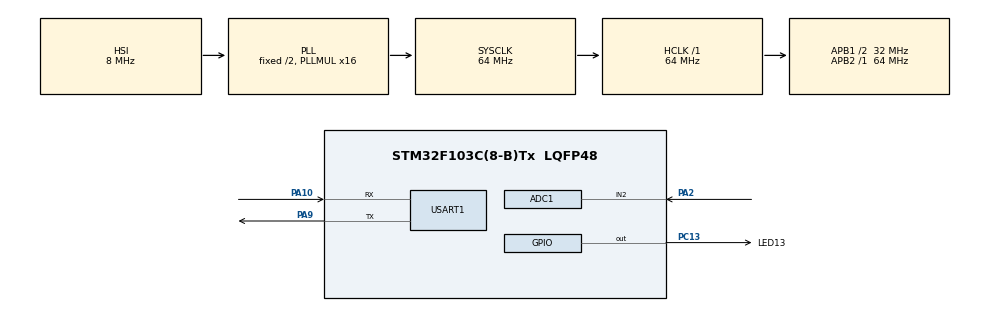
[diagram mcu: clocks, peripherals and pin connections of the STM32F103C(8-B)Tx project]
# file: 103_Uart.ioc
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ADC1.Channel-2\#ChannelRegularConversion=ADC_CHANNEL_2
ADC1.ContinuousConvMode=ENABLE
ADC1.EnableInjectedConversion=DISABLE
ADC1.EnableRegularConversion=ENABLE
ADC1.NbrOfConversionFlag=1
ADC1.Rank-2\#ChannelRegularConversion=1
ADC1.SamplingTime-2\#ChannelRegularConversion=ADC_SAMPLETIME_71CYCLES_5
ADC1.master=1
Dma.ADC1.0.Direction=DMA_PERIPH_TO_MEMORY
Dma.ADC1.0.Instance=DMA1_Channel1
Dma.ADC1.0.MemDataAlignment=DMA_MDATAALIGN_HALFWORD
Dma.ADC1.0.MemInc=DMA_MINC_ENABLE
Dma.ADC1.0.Mode=DMA_CIRCULAR
Dma.ADC1.0.PeriphDataAlignment=DMA_PDATAALIGN_HALFWORD
Dma.ADC1.0.PeriphInc=DMA_PINC_DISABLE
Dma.ADC1.0.Priority=DMA_PRIORITY_LOW
Dma.Request0=ADC1
Mcu.Family=STM32F1
Mcu.Name=STM32F103C(8-B)Tx
Mcu.Package=LQFP48
NVIC.DMA1_Channel1_IRQn=true\:0\:0\:false\:false\:true\:false\:true\:true
NVIC.PriorityGroup=NVIC_PRIORITYGROUP_4
NVIC.USART1_IRQn=true\:0\:0\:false\:false\:true\:true\:true\:true
PA10.Mode=Asynchronous
PA10.Signal=USART1_RX
PA13.Mode=Serial_Wire
PA13.Signal=SYS_JTMS-SWDIO
PA14.Mode=Serial_Wire
PA14.Signal=SYS_JTCK-SWCLK
PA2.Signal=ADCx_IN2
PA9.Mode=Asynchronous
PA9.Signal=USART1_TX
PC13-TAMPER-RTC.GPIO_Label=LED13
PC13-TAMPER-RTC.GPIO_Speed=GPIO_SPEED_FREQ_MEDIUM
PC13-TAMPER-RTC.Signal=GPIO_Output
ProjectManager.HeapSize=0x200
ProjectManager.StackSize=0x400
ProjectManager.TargetToolchain=STM32CubeIDE
RCC.ADCPresc=RCC_ADCPCLK2_DIV8
RCC.AHBFreq_Value=64000000
RCC.APB1CLKDivider=RCC_HCLK_DIV2
RCC.APB1Freq_Value=32000000
RCC.APB1TimFreq_Value=64000000
RCC.APB2Freq_Value=64000000
RCC.APB2TimFreq_Value=64000000
RCC.HCLKFreq_Value=64000000
RCC.PLLMUL=RCC_PLL_MUL16
RCC.SYSCLKFreq_VALUE=64000000
RCC.SYSCLKSource=RCC_SYSCLKSOURCE_PLLCLK
RCC.USBFreq_Value=64000000
SH.ADCx_IN2.0=ADC1_IN2,IN2
USART1.VirtualMode=VM_ASYNC
board=custom

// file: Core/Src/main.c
/* USER CODE BEGIN Header */
/**
  ******************************************************************************
  * @file           : main.c
  * @brief          : Main program body
  ******************************************************************************
  * @attention
  *
  * Copyright (c) 2023 STMicroelectronics.
  * All rights reserved.
  *
  * This software is licensed under terms that can be found in the LICENSE file
  * in the root directory of this software component.
  * If no LICENSE file comes with this software, it is provided AS-IS.
  *
  ******************************************************************************
  */
/* USER CODE END Header */
#include "main.h"

/* USER CODE BEGIN Includes */
#include "string.h"				//для работы со строками
//#define ADC_CHANNELS_NUM 1
/* USER CODE END Includes */

ADC_HandleTypeDef hadc1;
DMA_HandleTypeDef hdma_adc1;
UART_HandleTypeDef huart1;

void SystemClock_Config(void);
static void MX_GPIO_Init(void);
static void MX_DMA_Init(void);
static void MX_USART1_UART_Init(void);
static void MX_ADC1_Init(void);

/* USER CODE BEGIN 0 */
char trans_str[16] = {0,};
uint16_t temperTMP37 = 0;
uint16_t settemperTMP37 = 40;
uint16_t hyster = 5;
uint16_t adcData;
uint16_t adcVoltage;
/* USER CODE END 0 */

int main(void)
{

  /* MCU Configuration--------------------------------------------------------*/

  /* Reset of all peripherals, Initializes the Flash interface and the Systick. */
  HAL_Init();

  /* Configure the system clock */
  SystemClock_Config();

  /* Initialize all configured peripherals */
  MX_GPIO_Init();
  MX_DMA_Init();
  MX_USART1_UART_Init();
  MX_ADC1_Init();
  /* USER CODE BEGIN 2 */
//  HAL_ADCEx_Calibration_Start(&hadc1);
  HAL_ADC_Start_DMA(&hadc1, (uint32_t*)&adcData, 1);
  /* USER CODE END 2 */

  /* Infinite loop */
  while (1)
  {

    /* USER CODE BEGIN 3 */
	  	  	HAL_Delay(100);
	  		if (temperTMP37>(settemperTMP37+hyster))  HAL_GPIO_WritePin(LED13_GPIO_Port, LED13_Pin, 0);
	  		else if (temperTMP37<(settemperTMP37-hyster)) HAL_GPIO_WritePin(LED13_GPIO_Port, LED13_Pin, 1);

	  		adcVoltage = adcData * 3300 / 4095; //X1000, те не вольты а милливольты
	  		temperTMP37 = adcVoltage/20; // 1 градус = 20 милливольт
	  		snprintf(trans_str, 16, "TEMPERATURE %d\n", temperTMP37); //упаковали всё в массив для отображения в ASCII
	  		HAL_UART_Transmit(&huart1, trans_str, strlen (trans_str), 1000); //передали по уарт
  }

  /* USER CODE END 3 */
}

void SystemClock_Config(void)
{
  RCC_OscInitTypeDef RCC_OscInitStruct = {0};
  RCC_ClkInitTypeDef RCC_ClkInitStruct = {0};
  RCC_PeriphCLKInitTypeDef PeriphClkInit = {0};

  /** Initializes the RCC Oscillators according to the specified parameters
  * in the RCC_OscInitTypeDef structure.
  */
  RCC_OscInitStruct.OscillatorType = RCC_OSCILLATORTYPE_HSI;
  RCC_OscInitStruct.HSIState = RCC_HSI_ON;
  RCC_OscInitStruct.HSICalibrationValue = RCC_HSICALIBRATION_DEFAULT;
  RCC_OscInitStruct.PLL.PLLState = RCC_PLL_ON;
  RCC_OscInitStruct.PLL.PLLSource = RCC_PLLSOURCE_HSI_DIV2;
  RCC_OscInitStruct.PLL.PLLMUL = RCC_PLL_MUL16;
  if (HAL_RCC_OscConfig(&RCC_OscInitStruct) != HAL_OK)
  {
    Error_Handler();
  }

  /** Initializes the CPU, AHB and APB buses clocks
  */
  RCC_ClkInitStruct.ClockType = RCC_CLOCKTYPE_HCLK|RCC_CLOCKTYPE_SYSCLK
                              |RCC_CLOCKTYPE_PCLK1|RCC_CLOCKTYPE_PCLK2;
  RCC_ClkInitStruct.SYSCLKSource = RCC_SYSCLKSOURCE_PLLCLK;
  RCC_ClkInitStruct.AHBCLKDivider = RCC_SYSCLK_DIV1;
  RCC_ClkInitStruct.APB1CLKDivider = RCC_HCLK_DIV2;
  RCC_ClkInitStruct.APB2CLKDivider = RCC_HCLK_DIV1;

  if (HAL_RCC_ClockConfig(&RCC_ClkInitStruct, FLASH_LATENCY_2) != HAL_OK)
  {
    Error_Handler();
  }
  PeriphClkInit.PeriphClockSelection = RCC_PERIPHCLK_ADC;
  PeriphClkInit.AdcClockSelection = RCC_ADCPCLK2_DIV8;
  if (HAL_RCCEx_PeriphCLKConfig(&PeriphClkInit) != HAL_OK)
  {
    Error_Handler();
  }
}

static void MX_ADC1_Init(void)
{

  ADC_ChannelConfTypeDef sConfig = {0};

  /** Common config
  */
  hadc1.Instance = ADC1;
  hadc1.Init.ScanConvMode = ADC_SCAN_DISABLE;
  hadc1.Init.ContinuousConvMode = ENABLE;
  hadc1.Init.DiscontinuousConvMode = DISABLE;
  hadc1.Init.ExternalTrigConv = ADC_SOFTWARE_START;
  hadc1.Init.DataAlign = ADC_DATAALIGN_RIGHT;
  hadc1.Init.NbrOfConversion = 1;
  if (HAL_ADC_Init(&hadc1) != HAL_OK)
  {
    Error_Handler();
  }

  /** Configure Regular Channel
  */
  sConfig.Channel = ADC_CHANNEL_2;
  sConfig.Rank = ADC_REGULAR_RANK_1;
  sConfig.SamplingTime = ADC_SAMPLETIME_71CYCLES_5;
  if (HAL_ADC_ConfigChannel(&hadc1, &sConfig) != HAL_OK)
  {
    Error_Handler();
  }

}

static void MX_USART1_UART_Init(void)
{

  huart1.Instance = USART1;
  huart1.Init.BaudRate = 115200;
  huart1.Init.WordLength = UART_WORDLENGTH_8B;
  huart1.Init.StopBits = UART_STOPBITS_1;
  huart1.Init.Parity = UART_PARITY_NONE;
  huart1.Init.Mode = UART_MODE_TX_RX;
  huart1.Init.HwFlowCtl = UART_HWCONTROL_NONE;
  huart1.Init.OverSampling = UART_OVERSAMPLING_16;
  if (HAL_UART_Init(&huart1) != HAL_OK)
  {
    Error_Handler();
  }

}

static void MX_DMA_Init(void)
{

  /* DMA controller clock enable */
  __HAL_RCC_DMA1_CLK_ENABLE();

  /* DMA interrupt init */
  /* DMA1_Channel1_IRQn interrupt configuration */
  HAL_NVIC_SetPriority(DMA1_Channel1_IRQn, 0, 0);
  HAL_NVIC_EnableIRQ(DMA1_Channel1_IRQn);

}

static void MX_GPIO_Init(void)
{
  GPIO_InitTypeDef GPIO_InitStruct = {0};

  /* GPIO Ports Clock Enable */
  __HAL_RCC_GPIOC_CLK_ENABLE();
  __HAL_RCC_GPIOA_CLK_ENABLE();

  /*Configure GPIO pin Output Level */
  HAL_GPIO_WritePin(LED13_GPIO_Port, LED13_Pin, GPIO_PIN_RESET);

  /*Configure GPIO pin : LED13_Pin */
  GPIO_InitStruct.Pin = LED13_Pin;
  GPIO_InitStruct.Mode = GPIO_MODE_OUTPUT_PP;
  GPIO_InitStruct.Pull = GPIO_NOPULL;
  GPIO_InitStruct.Speed = GPIO_SPEED_FREQ_MEDIUM;
  HAL_GPIO_Init(LED13_GPIO_Port, &GPIO_InitStruct);

}

void Error_Handler(void)
{
  __disable_irq();
  while (1)
  {
  }
}
